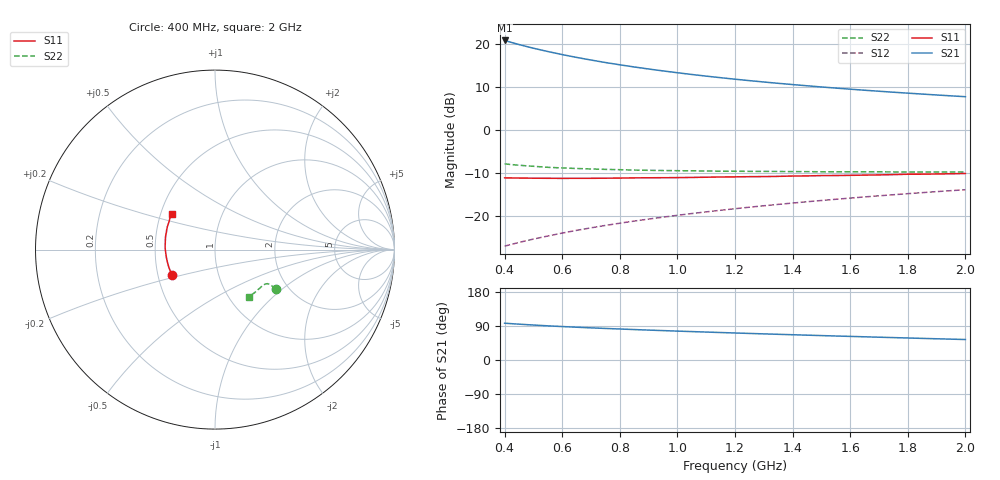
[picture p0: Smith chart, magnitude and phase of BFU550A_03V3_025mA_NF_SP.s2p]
! Filename:  P:\Prog\Test\Noise\ATS_data\Testdata_Net\06 Compressed Noise after Statistics\BFU550A_APG2013_35_C05_03p3V_025mA_NF_CM01_D.sf
! Date/Time: Tue 16/Apr/2013 15:11:28
! BFU550A_APG2013_35_C05_03p3V_1to35mA_NF_CM01_Bias7_R.sf
! Noise Parameter Data File
! BFU550A_APG2013_35_C05_03p3V_1to35mA_NF_CM01
! Date/time: Mon Apr 15 15:23:40 2013
! VAR V_out= 3.300000
! VAR I_out= 25.000000
! VAR V_in= 0.850900
! VAR I_in= 0.284350
! Device data file deembeded for feedlines and parallel
! Original file: \06 Compressed Noise after Statistics\BFU550A_APG2013_35_C05_03p3V_025mA_NF_CM01_R.sf
! Feed-files: PR017V01_150413_Feed1.s2p, PR017V01_150413_Feed2.s2p
! Parallel-file: PR017V01_150413_Par.s2p
# MHz S MA R 50
!  Freq-MHz  S11-mag  S11-arg  S21-mag  S21-arg  S12-mag  S12-arg  S22-mag  S22-arg
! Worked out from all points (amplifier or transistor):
!   37 points, 400 MHz to 2 GHz, reference 50 ohm
!   highest |S21| = 20.7 dB at 400 MHz (marker M1)
!   |S21| within 3 dB of that: start of sweep to 580.7 MHz
!   unconditionally stable (mu >= 1): 714.8 MHz to 1.684 GHz
!   at 500 MHz: K = 0.96, MSG = 22.1 dB, |S12| = -25.3 dB
!   at 1.1 GHz: K = 1.01, MAG = 15.0 dB, |S12| = -19.0 dB
!   at 2 GHz: K = 0.99, MSG = 10.8 dB, |S12| = -13.9 dB
!   lowest NFmin = 1.12 dB at 420 MHz
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400  0.2778 -149.4  10.87 97.2  0.04484 72.2  0.4033 -33.2
420  0.2772 -151.6  10.39 96.0  0.04672 72.5  0.397 -33.0
440  0.2768 -153.8  9.957 95.0  0.04859 72.7  0.3915 -32.9
480  0.2756 -157.5  9.181 93.2  0.05229 73.1  0.3819 -32.7
500  0.2752 -159.3  8.836 92.3  0.05418 73.3  0.3782 -32.6
550  0.2745 -163.5  8.092 90.1  0.05879 73.7  0.3679 -32.4
600  0.2739 -167.0  7.457 88.3  0.06362 74.0  0.3618 -32.4
650  0.2744 -170.3  6.913 86.5  0.06838 74.1  0.3565 -32.6
700  0.2744 -173.3  6.445 84.8  0.07315 74.3  0.3521 -32.8
750  0.2752 -176.2  6.034 83.3  0.07797 74.4  0.3483 -33.0
800  0.2759 -178.7  5.676 81.8  0.08278 74.4  0.3454 -33.5
850  0.2776 178.7  5.358 80.3  0.08758 74.4  0.3418 -33.9
900  0.2783 176.3  5.074 79.0  0.09246 74.4  0.3396 -34.4
950  0.279 174.1  4.822 77.6  0.0973 74.3  0.3379 -35.1
1050  0.2808 170.0  4.383 75.0  0.1071 74.1  0.3349 -36.2
1100  0.2825 168.0  4.196 73.7  0.112 73.9  0.3336 -37.0
1200  0.2853 164.2  3.866 71.3  0.1219 73.5  0.3312 -38.5
1350  0.289 159.1  3.463 67.8  0.1368 72.8  0.3293 -41.0
1500  0.295 154.1  3.141 64.4  0.1518 72.0  0.3267 -43.6
1600  0.297 151.2  2.961 62.3  0.1618 71.3  0.3265 -45.5
1750  0.3029 146.8  2.731 59.1  0.1769 70.4  0.3253 -48.4
2000  0.3121 140.2  2.422 54.0  0.2023 68.5  0.3247 -53.7
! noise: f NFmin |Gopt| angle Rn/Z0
400  1.17  0.3294  -166.7  0.0767
460  1.176  0.3264  -165.5  0.077
600  1.259  0.31  -157.6  0.0942
800  1.231  0.3602  -156.8  0.0791
1000  1.238  0.3769  -150.7  0.0842
1200  1.298  0.3862  -144.3  0.0963
1400  1.341  0.4102  -138.8  0.1066
1600  1.401  0.4256  -132.2  0.1201
1800  1.37  0.4531  -129.6  0.1278
2000  1.446  0.4429  -122.7  0.159
